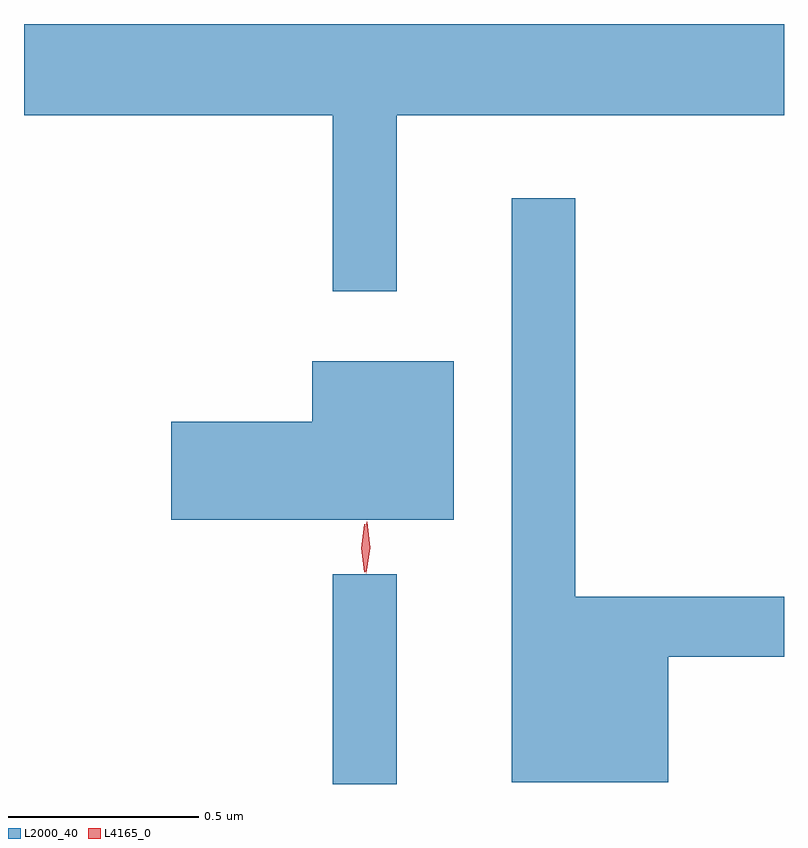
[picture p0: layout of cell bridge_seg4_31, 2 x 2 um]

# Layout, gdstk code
import gdstk
lib = gdstk.Library(unit=1e-6, precision=1e-09)
def R(c, l, rs):  # rectangles x0, y0, x1, y1
    for r in rs: c.add(gdstk.rectangle(r[:2], r[2:], *l))
def P(c, l, *ps):  # polygons
    for p in ps: c.add(gdstk.Polygon(p, *l))
L2000_40 = (2000, 40)
L4165_0 = (4165, 0)

bridge_seg4_31 = lib.new_cell('bridge_seg4_31')
R(bridge_seg4_31, L2000_40, [(1167.361,1297.416,1167.529,1297.968)])
P(bridge_seg4_31, L2000_40, [(1167.529,1299.176),(1168.548,1299.176),(1168.548,1299.416),(1166.548,1299.416),(1166.548,1299.176),(1167.361,1299.176),(1167.361,1298.713),(1167.529,1298.713)],
  [(1168.244,1297.751),(1168.548,1297.751),(1168.548,1297.909),(1167.999,1297.909),(1167.999,1298.958),(1167.831,1298.958),(1167.831,1297.421),(1168.244,1297.421)],
  [(1167.679,1298.529),(1167.306,1298.529),(1167.306,1298.369),(1166.936,1298.369),(1166.936,1298.111),(1167.679,1298.111)])
P(bridge_seg4_31, L4165_0, [(1167.448,1297.97),(1167.439,1298.038),(1167.45,1298.106),(1167.45,1298.106),(1167.451,1298.106),(1167.459,1298.038),(1167.449,1297.97),(1167.449,1297.97)],
  [(1167.445,1297.973),(1167.444,1297.974),(1167.435,1298.036),(1167.444,1298.1),(1167.445,1298.1),(1167.446,1298.1),(1167.455,1298.036),(1167.446,1297.974)])

lib.write_gds('bridge_seg4_31.gds')
